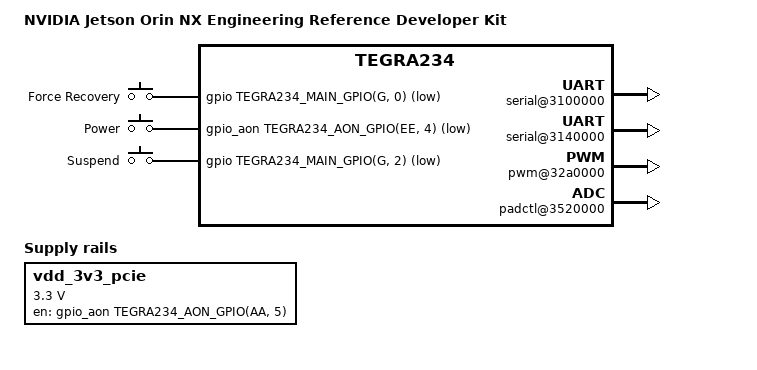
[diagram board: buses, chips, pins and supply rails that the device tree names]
// SPDX-License-Identifier: GPL-2.0
/dts-v1/;

#include <dt-bindings/input/linux-event-codes.h>
#include <dt-bindings/input/gpio-keys.h>

#include "tegra234-p3767-0000.dtsi"
#include "tegra234-p3768-0000.dtsi"

/ {
	compatible = "nvidia,p3768-0000+p3767-0000", "nvidia,p3767-0000", "nvidia,tegra234";
	model = "NVIDIA Jetson Orin NX Engineering Reference Developer Kit";

	reserved-memory {
		#address-cells = <2>;
		#size-cells = <2>;
		ranges;

		fb: framebuffer@0 {
			compatible = "framebuffer";
			reg = <0x0 0x0 0x0 0x0>;
			iommu-addresses = <&dc0 0x0 0x0 0x0 0x0>;
		};
	};

	aliases {
		serial1 = &uarta;
		serial2 = &uarte;
	};

	chosen {
		framebuffer {
			compatible = "simple-framebuffer";
			status = "disabled";
			memory-region = <&fb>;
			power-domains = <&bpmp TEGRA234_POWER_DOMAIN_DISP>;
			clocks = <&bpmp TEGRA234_CLK_HUB>,
				 <&bpmp TEGRA234_CLK_DISP>,
				 <&bpmp TEGRA234_CLK_NVDISPLAY_P0>,
				 <&bpmp TEGRA234_CLK_DPAUX>,
				 <&bpmp TEGRA234_CLK_DISPPLL>,
				 <&bpmp TEGRA234_CLK_DISPHUBPLL>,
				 /* MORE!!! */
				 <&bpmp TEGRA234_CLK_NVDISPLAY_P1>,
				 <&bpmp TEGRA234_CLK_FUSE>,
				 <&bpmp TEGRA234_CLK_DSIPLL_VCO>,
				 <&bpmp TEGRA234_CLK_DSIPLL_CLKOUTPN>,
				 <&bpmp TEGRA234_CLK_DSIPLL_CLKOUTA>,
				 <&bpmp TEGRA234_CLK_SPPLL0_VCO>,
				 <&bpmp TEGRA234_CLK_SPPLL0_CLKOUTPN>,
				 <&bpmp TEGRA234_CLK_SPPLL0_CLKOUTA>,
				 <&bpmp TEGRA234_CLK_SPPLL0_CLKOUTB>,
				 <&bpmp TEGRA234_CLK_SPPLL0_DIV10>,
				 <&bpmp TEGRA234_CLK_SPPLL0_DIV25>,
				 <&bpmp TEGRA234_CLK_SPPLL0_DIV27PN>,
				 <&bpmp TEGRA234_CLK_SPPLL1_VCO>,
				 <&bpmp TEGRA234_CLK_SPPLL1_CLKOUTPN>,
				 <&bpmp TEGRA234_CLK_SPPLL1_DIV27PN>,
				 <&bpmp TEGRA234_CLK_VPLL0_REF>,
				 <&bpmp TEGRA234_CLK_VPLL0>,
				 <&bpmp TEGRA234_CLK_VPLL1>,
				 <&bpmp TEGRA234_CLK_NVDISPLAY_P0_REF>,
				 <&bpmp TEGRA234_CLK_RG0>,
				 <&bpmp TEGRA234_CLK_RG1>,
				 <&bpmp TEGRA234_CLK_DSI_LP>,
				 <&bpmp TEGRA234_CLK_DSI_CORE>,
				 <&bpmp TEGRA234_CLK_DSI_PIXEL>,
				 <&bpmp TEGRA234_CLK_PRE_SOR0>,
				 <&bpmp TEGRA234_CLK_PRE_SOR1>,
				 <&bpmp TEGRA234_CLK_DP_LINK_REF>,
				 <&bpmp TEGRA234_CLK_SOR_LINKA_INPUT>,
				 <&bpmp TEGRA234_CLK_SOR_LINKA_AFIFO>,
				 <&bpmp TEGRA234_CLK_SOR_LINKA_AFIFO_M>,
				 <&bpmp TEGRA234_CLK_RG0_M>,
				 <&bpmp TEGRA234_CLK_RG1_M>,
				 <&bpmp TEGRA234_CLK_SOR0_M>,
				 <&bpmp TEGRA234_CLK_SOR1_M>,
				 <&bpmp TEGRA234_CLK_PLLHUB>,
				 <&bpmp TEGRA234_CLK_SOR0>,
				 <&bpmp TEGRA234_CLK_SOR1>,
				 <&bpmp TEGRA234_CLK_SOR_PAD_INPUT>,
				 <&bpmp TEGRA234_CLK_PRE_SF0>,
				 <&bpmp TEGRA234_CLK_SF0>,
				 <&bpmp TEGRA234_CLK_SF1>,
				 <&bpmp TEGRA234_CLK_DSI_PAD_INPUT>,
				 <&bpmp TEGRA234_CLK_PRE_SOR0_REF>,
				 <&bpmp TEGRA234_CLK_PRE_SOR1_REF>,
				 <&bpmp TEGRA234_CLK_SOR0_PLL_REF>,
				 <&bpmp TEGRA234_CLK_SOR1_PLL_REF>,
				 <&bpmp TEGRA234_CLK_SOR0_REF>,
				 <&bpmp TEGRA234_CLK_SOR1_REF>,
				 <&bpmp TEGRA234_CLK_OSC>,
				 <&bpmp TEGRA234_CLK_DSC>,
				 <&bpmp TEGRA234_CLK_MAUD>,
				 <&bpmp TEGRA234_CLK_AZA_2XBIT>,
				 <&bpmp TEGRA234_CLK_AZA_BIT>,
				 <&bpmp TEGRA234_CLK_MIPI_CAL>,
				 <&bpmp TEGRA234_CLK_UART_FST_MIPI_CAL>,
				 <&bpmp TEGRA234_CLK_SOR0_DIV>;
			/*
			resets = <&bpmp TEGRA234_RESET_NVDISPLAY>,
				 <&bpmp TEGRA234_RESET_DPAUX>,
				 <&bpmp TEGRA234_RESET_DSI_CORE>,
				 <&bpmp TEGRA234_RESET_MIPI_CAL>;
			*/
			width = <0>;
			height = <0>;
			stride = <0>;
			format = "x8r8g8b8";
		};
	};

	bus@0 {
		serial@3100000 {
			compatible = "nvidia,tegra194-hsuart";
			reset-names = "serial";
			status = "okay";
		};

		serial@3140000 {
			compatible = "nvidia,tegra194-hsuart";
			reset-names = "serial";
			status = "okay";
		};

		pwm@32a0000 {
			assigned-clocks = <&bpmp TEGRA234_CLK_PWM3>;
			assigned-clock-parents = <&bpmp TEGRA234_CLK_PLLP_OUT0>;
			status = "okay";
		};

		hda@3510000 {
			nvidia,model = "NVIDIA Jetson Orin NX HDA";
			status = "okay";
		};

		padctl@3520000 {
			status = "okay";
		};
	};

	gpio-keys {
		compatible = "gpio-keys";

		key-force-recovery {
			label = "Force Recovery";
			gpios = <&gpio TEGRA234_MAIN_GPIO(G, 0) GPIO_ACTIVE_LOW>;
			linux,input-type = <EV_KEY>;
			linux,code = <BTN_1>;
		};

		key-power {
			label = "Power";
			gpios = <&gpio_aon TEGRA234_AON_GPIO(EE, 4) GPIO_ACTIVE_LOW>;
			linux,input-type = <EV_KEY>;
			linux,code = <KEY_POWER>;
			wakeup-event-action = <EV_ACT_ASSERTED>;
			wakeup-source;
		};

		key-suspend {
			label = "Suspend";
			gpios = <&gpio TEGRA234_MAIN_GPIO(G, 2) GPIO_ACTIVE_LOW>;
			linux,input-type = <EV_KEY>;
			linux,code = <KEY_SLEEP>;
		};
	};

	pwm-fan {
		cooling-levels = <0 88 187 255>;
	};

	vdd_3v3_pcie: regulator-vdd-3v3-pcie {
		compatible = "regulator-fixed";
		regulator-name = "VDD_3V3_PCIE";
		regulator-min-microvolt = <3300000>;
		regulator-max-microvolt = <3300000>;
		gpio = <&gpio_aon TEGRA234_AON_GPIO(AA, 5) GPIO_ACTIVE_HIGH>;
		enable-active-high;
	};

	thermal-zones {
		tj-thermal {
			cooling-maps {
				map-active-0 {
					cooling-device = <&fan 0 1>;
					trip = <&tj_trip_active0>;
				};

				map-active-1 {
					cooling-device = <&fan 1 2>;
					trip = <&tj_trip_active1>;
				};

				map-active-2 {
					cooling-device = <&fan 2 3>;
					trip = <&tj_trip_active2>;
				};
			};
		};
	};
};
